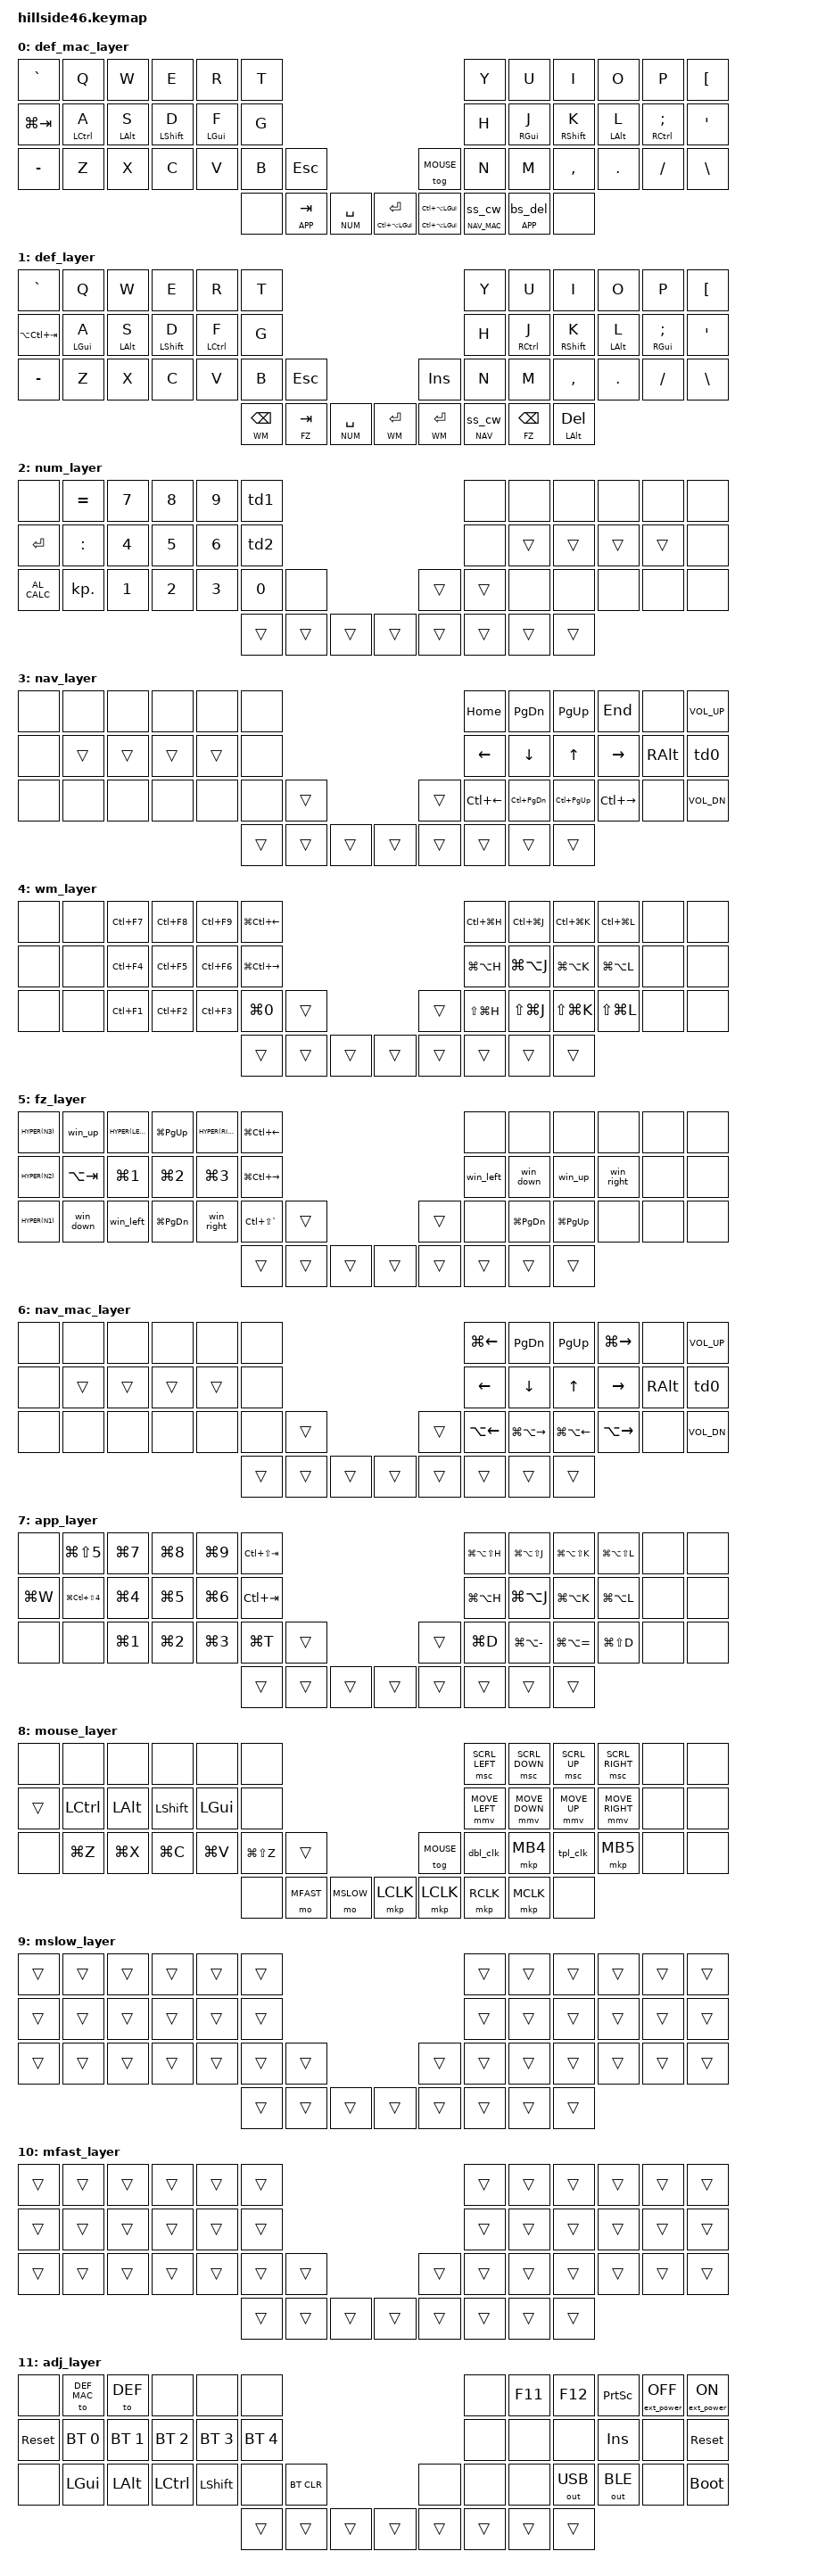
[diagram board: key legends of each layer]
/*
 * Copyright (c) 2021-2022 The ZMK Contributors
 *
 * SPDX-License-Identifier: MIT
 */

#include <behaviors.dtsi>
#include <dt-bindings/zmk/bt.h>
#include <dt-bindings/zmk/ext_power.h>
#include <dt-bindings/zmk/keys.h>
#include <dt-bindings/zmk/outputs.h>
// Mouse keys. ZMK_POINTING_DEFAULT_MOVE_VAL / _SCRL_VAL are left at ZMK's defaults (600 / 10):
// macOS runs its own pointer-acceleration curve on top of whatever the keyboard sends, so the
// sane order of tuning is the macOS "Tracking speed" slider first, these numbers only after.
// Requires CONFIG_ZMK_POINTING=y in hillside46.conf.
#include <dt-bindings/zmk/pointing.h>
// zip_xy_scaler / zip_scroll_scaler (MSLOW / MFAST) are not pulled in by behaviors.dtsi.
#include <input/processors.dtsi>

// layer shortcuts, must match order in which they are defined below
// bases (DEF_MAC, DEF) are lowest so momentary/overlay layers stack above them;
// ADJ is highest so it shows above NAV_MAC when reached via NUM+NAV_MAC.
// DEF_MAC is layer 0 so the keyboard boots into mac mode by default.
// NUM is shared by BOTH bases. It used to have a mac twin (NUM_MAC) whose only difference was
// the right-hand home-row mod order; since the symbol cleanup those slots are &trans and the
// OS-correct order arrives from the base layer, so the twin was deleted. NAV still needs a mac
// twin (NAV_MAC) because its right half genuinely differs - Home/End vs Cmd+arrow, Ctrl+arrow
// vs Option+arrow.
#define DEF_MAC 0
#define DEF 1
#define NUM 2
#define NAV 3
#define WM 4
#define FZ 5
#define NAV_MAC 6
#define APP 7
// MOUSE is toggled by pos 31 on DEF_MAC. MSLOW / MFAST are fully transparent layers held from
// MOUSE's left thumbs; they exist only so the mmv/msc input listeners below can scale the
// pointer and the wheel while they are active.
#define MOUSE 8
#define MSLOW 9
#define MFAST 10
#define ADJ 11

/* Windows legacy clipboard encodings, so the combos also work in terminals where
 * Ctrl+C/V are taken. Undo/Redo have no such second encoding and are one HRM chord
 * away anyway (HRM+Z), so they get no #define here. */
#define Cut    LS(DEL)
#define Copy   LC(INS)
#define Paste  LS(INS)

/* Hyper = Ctrl+Opt+Cmd (mac AeroSpace) / Ctrl+Alt+Win (FancyZones) - same three mods.
 * Use HYPER(key) instead of spelling LC(LA(LG(key))) by hand. */
#define HYPER(k) LC(LA(LG(k)))
/* Hyper as a bare modifier (no extra keycode) - for hold-tap "hold" params that
 * should just press/release the three mods, e.g. `&mt HYPER_HOLD RETURN`. */
#define HYPER_HOLD LC(LA(LGUI))

#define XXX &none
#define ___ &trans

/* Settings */
// quick-tap-ms: re-tap within this window after the SAME key resolves as a tap and
// enables hold-to-repeat. require-prior-idle-ms: if ANY other key was pressed less
// than this long ago, the hold is suppressed and the tap is emitted - this is what
// kills home-row-mod misfires mid-typing-burst. `global-quick-tap` used to tie the
// two together (prior-idle == quick-tap-ms); it is deprecated in ZMK v0.3.0
// (zmk,behavior-hold-tap.yaml), so they are set independently here.
// HRM_PRIOR_IDLE_MS is the stricter window for the home-row mods (hml/hmr). It must
// stay above ~175ms: the right half is the BLE peripheral, so its presses reach the
// central late, and a fast cross-hand roll like H->F (RU "ра" in "управлять") arrives
// as F-down, H-down, H-up - balanced resolves that as Cmd+H. The only thing standing
// between that and a hidden window is the prior-idle gap back to the key before H,
// which on a fast roll is ~150-175ms. PRIOR_IDLE_MS (thumbs: lt_t, app_bs_ht) stays
// lower so a layer can be entered right after typing.
#define QUICK_TAP_MS 175
#define PRIOR_IDLE_MS 150
#define HRM_PRIOR_IDLE_MS 200

#include "combos.dtsi"

&mt {
    flavor = "balanced";
};
&sk {
    quick-release;
};
&caps_word {
    // Allow caps word to continue even when minus, delete, left or underscore are pressed.
    continue-list = <UNDERSCORE MINUS BACKSPACE DELETE LEFT>;
};

/* Mouse keys - ZMK v0.3.0 defaults, spelled out so they are easy to find and tune.
 * mmv: the pointer ramps linearly (exponent 1) from 0 to full speed over 300ms - short taps
 *      nudge it a few pixels, a held key crosses the screen. macOS adds its own acceleration.
 * msc: the wheel runs at constant speed (exponent 0), no ramp-up.
 * delay-ms unset = movement starts on press, no dead time. */
&mmv {
    time-to-max-speed-ms = <300>;
    acceleration-exponent = <1>;
};
&msc {
    time-to-max-speed-ms = <300>;
    acceleration-exponent = <0>;
};

/* Speed modes: while MSLOW / MFAST is held (MOUSE's left thumbs) the generated deltas are
 * scaled. Scaler params are <multiplier divisor>. track-remainders is on in ZMK's stock
 * scalers, so slow mode loses no sub-pixel motion. */
&mmv_input_listener {
    mmv_slow {
        layers = <MSLOW>;
        input-processors = <&zip_xy_scaler 1 4>;
    };
    mmv_fast {
        layers = <MFAST>;
        input-processors = <&zip_xy_scaler 3 1>;
    };
};
&msc_input_listener {
    msc_slow {
        layers = <MSLOW>;
        input-processors = <&zip_scroll_scaler 1 3>;
    };
    msc_fast {
        layers = <MFAST>;
        input-processors = <&zip_scroll_scaler 3 1>;
    };
};

/ {
        conditional_layers {
            compatible = "zmk,conditional-layers";
            // Win/Lin: NUM + NAV reaches ADJ
            tri_layer_win {
                if-layers = <NUM NAV>;
                then-layer = <ADJ>;
            };
            // mac: NUM + NAV_MAC reaches ADJ (NUM is shared by both bases)
            tri_layer_mac {
                if-layers = <NUM NAV_MAC>;
                then-layer = <ADJ>;
            };
        };
        behaviors {
                td0: td_ply_nxt {
                        compatible = "zmk,behavior-tap-dance";
                        label = "TD_PLY_NXT";
                        #binding-cells = <0>;
                        tapping-term-ms = <280>;
                        bindings = <&kp C_PLAY_PAUSE>, <&kp C_NEXT>, <&kp C_PREV>;
                };
                td1: td_mns_sls {
                        compatible = "zmk,behavior-tap-dance";
                        label = "TD_MNS_SLS";
                        #binding-cells = <0>;
                        tapping-term-ms = <200>;
                        bindings = <&kp KP_MINUS>, <&kp KP_SLASH>;
                };
                td2: td_pls_ast {
                        compatible = "zmk,behavior-tap-dance";
                        label = "TD_PLS_AST";
                        #binding-cells = <0>;
                        tapping-term-ms = <200>;
                        bindings = <&kp KP_PLUS>, <&kp KP_ASTERISK>;
                };
                // tap: Backspace | shift + tap: Delete (shift is consumed, plain DELETE is sent)
                bs_del: backspace_delete {
                        compatible = "zmk,behavior-mod-morph";
                        label = "BACKSPACE_DELETE";
                        #binding-cells = <0>;
                        bindings = <&kp BACKSPACE>, <&kp DELETE>;
                        mods = <(MOD_LSFT|MOD_RSFT)>;
                };
                // Home-row mods, positional ("Miryoku/urob" style): split into a
                // left- and right-hand variant so each only triggers its hold when
                // the *next* key is on the OPPOSITE hand (hold-trigger-key-positions).
                // hold-trigger-on-release lets same-hand mods chain when the next key
                // is held. Same-hand mod+key (e.g. left-hand Cmd+C) still works via
                // the timeout path: hold the mod alone past tapping-term, then press.
                // Positions (Hillside46, 46 keys, numbered by keymap order from 0):
                //   left  hand: 0-5, 12-17, 24-30   right hand: 6-11, 18-23, 31-37   thumbs: 38-45
                //   thumbs, outer -> inner:  left 38 39 40 41 | right 42 43 44 45 (45 is outermost)
                // HARDWARE: positions 38 and 45 - the OUTERMOST thumb of each half - are
                // physically unused. Their keycaps have been removed from the board, so they
                // cannot be pressed at all. Never assign anything there; treat them as if the
                // switch did not exist. See "Physically unused keys" in CLAUDE.md.
                hml: homerow_mod_left {
                        compatible = "zmk,behavior-hold-tap";
                        label = "HRM_LEFT";
                        #binding-cells = <2>;
                        flavor = "balanced";
                        tapping-term-ms = <200>;
                        quick-tap-ms = <QUICK_TAP_MS>;
                        require-prior-idle-ms = <HRM_PRIOR_IDLE_MS>;
                        hold-trigger-key-positions = <6 7 8 9 10 11 18 19 20 21 22 23 31 32 33 34 35 36 37 38 39 40 41 42 43 44 45>;
                        hold-trigger-on-release;
                        bindings = <&kp>, <&kp>;
                };
                hmr: homerow_mod_right {
                        compatible = "zmk,behavior-hold-tap";
                        label = "HRM_RIGHT";
                        #binding-cells = <2>;
                        flavor = "balanced";
                        tapping-term-ms = <200>;
                        quick-tap-ms = <QUICK_TAP_MS>;
                        require-prior-idle-ms = <HRM_PRIOR_IDLE_MS>;
                        hold-trigger-key-positions = <0 1 2 3 4 5 12 13 14 15 16 17 24 25 26 27 28 29 30 38 39 40 41 42 43 44 45>;
                        hold-trigger-on-release;
                        bindings = <&kp>, <&kp>;
                };
                // tap: sticky-shift | shift + tap / double-tap: caps-word | hold: shift
                ss_cw: capsword {
                        compatible = "zmk,behavior-mod-morph";
                        label = "CAPSWORD";
                        #binding-cells = <0>;
                        bindings = <&sk LSHFT>, <&caps_word>;
                        mods = <(MOD_LSFT)>;
                };
                cw_ht: behavior_mo_cw {
                    compatible = "zmk,behavior-hold-tap";
                        label = "cw_ht";
                        #binding-cells = <2>;
                        flavor = "hold-preferred";
                        tapping-term-ms = <200>;
                        bindings = <&mo>, <&ss_cw>;
                };
                // hold: momentary layer | tap: bs_del (Backspace, Shift+tap = Delete)
                // quick-tap-ms is what makes Backspace repeatable: on the mac base this key
                // is the ONLY Backspace (pos 44; the outer thumbs are physically gone), so
                // without it there is no way to hold Backspace down at all. Tap it, then
                // re-press within QUICK_TAP_MS and keep holding -> the tap branch is forced
                // and the host's key repeat takes over. Verified in ZMK v0.3.0
                // behavior_hold_tap.c: decide_hold_preferred() maps HT_QUICK_TAP to
                // STATUS_TAP, so this works despite the hold-preferred flavor.
                // require-prior-idle-ms guards the other direction. With hold-preferred and
                // no prior-idle, pressing Backspace mid-typing and then rolling onto the next
                // key without releasing the thumb resolved as HOLD and opened APP instead of
                // deleting. Prior-idle forbids the hold while the previous keypress is recent,
                // so a Backspace taken during a typing burst is always a Backspace. Cost: the
                // APP layer now needs a ~PRIOR_IDLE_MS pause after typing before the thumb
                // will hold, which is fine for a deliberate window/tab layer.
                app_bs_ht: app_backspace_delete_ht {
                        compatible = "zmk,behavior-hold-tap";
                        label = "APP_BS_HT";
                        #binding-cells = <2>;
                        flavor = "hold-preferred";
                        tapping-term-ms = <200>;
                        quick-tap-ms = <QUICK_TAP_MS>;
                        require-prior-idle-ms = <PRIOR_IDLE_MS>;
                        bindings = <&mo>, <&bs_del>;
                };
                // Thumb layer-tap, replaces ZMK's stock &lt. The stock &lt is
                // flavor "tap-preferred" with quick-tap-ms unset (default -1), which
                // means two things:
                //   a) rolling into a layer key faster than tapping-term emits the TAP
                //      plus the BASE-layer key instead of the layer binding, so fast
                //      entry into NUM/NAV/WM/FZ needs a deliberate ~200ms pause;
                //   b) the tap keycode never auto-repeats when held, so Space,
                //      Backspace and Tab cannot be held down.
                // "balanced" resolves the hold as soon as another key is pressed AND
                // released inside the term, which fixes (a). quick-tap-ms fixes (b).
                // require-prior-idle-ms is the safety net that "tap-preferred" used to
                // provide: rolling off SPACE onto the next letter mid-word no longer
                // turns into an accidental layer, because the previous keypress is too
                // recent for the hold to be allowed.
                // Tuning knob: accidental layers still slipping through -> raise
                // require-prior-idle-ms; entering a layer right after typing feels
                // blocked -> lower it.
                lt_t: layer_tap_thumb {
                        compatible = "zmk,behavior-hold-tap";
                        label = "LT_THUMB";
                        #binding-cells = <2>;
                        flavor = "balanced";
                        tapping-term-ms = <200>;
                        quick-tap-ms = <QUICK_TAP_MS>;
                        require-prior-idle-ms = <PRIOR_IDLE_MS>;
                        bindings = <&mo>, <&kp>;
                };
                // Dedicated sticky-key for Hyper one-shot (separate from the
                // generic &sk used by ss_cw, so this 5s timeout doesn't affect
                // caps-word's sticky-shift behavior).
                sk_hyper: sticky_key_hyper {
                        compatible = "zmk,behavior-sticky-key";
                        label = "SK_HYPER";
                        #binding-cells = <1>;
                        bindings = <&kp>;
                        release-after-ms = <5000>;
                        // ignore-modifiers is REQUIRED here, and its absence was the cause of
                        // the long-standing "one-shot Hyper does nothing" bug. ZMK's stock &sk
                        // (app/dts/behaviors/sticky_key.dtsi) sets it; a hand-rolled node does
                        // not, because devicetree booleans default to false.
                        // Why it breaks without it (ZMK v0.3.0, behavior_sticky_key.c, the
                        // "don't catch key down events generated by the sticky key behavior
                        // itself" filter): that filter compares SELECT_MODS(param1) against
                        // ev->implicit_modifiers. For LC(LA(LGUI)) the keycode itself (LGUI) is
                        // a modifier, so keycode_state_changed_from_encoded() puts LCTRL|LALT
                        // into *explicit*_modifiers and leaves implicit_modifiers = 0. The
                        // comparison LCTRL|LALT == 0 fails, the filter misses, and the sticky
                        // key records its OWN press as "another key was pressed". On thumb
                        // release it then takes the "act like a normal key" path and releases
                        // the mods immediately - so the one-shot never sticks.
                        ignore-modifiers;
                        // lazy: press the three mods only around the next keypress instead of
                        // holding them for the whole 5s window, so the host never sees a bare
                        // Ctrl+Opt+Cmd hanging. Also independently sidesteps the bug above
                        // (no self key-down is emitted at activation time).
                        lazy;
                        // quick-release deliberately omitted: it has known bad interactions
                        // with sticky keys activated through a hold-tap (ZMK issues #3279,
                        // #814) - sk_hyper is the tap sub-behavior of hyper_ht. Without it,
                        // the modifier releases on the next key's release instead of its
                        // press, which is fine for a single-hotkey one-shot use case.
                };
                // Hold = hold the modifier (plain &kp); tap = one-shot the
                // modifier (sk_hyper). Both params of a call site should be
                // the same modifier expression, e.g. `&hyper_ht HYPER_HOLD HYPER_HOLD`.
                hyper_ht: hyper_hold_tap {
                        compatible = "zmk,behavior-hold-tap";
                        label = "HYPER_HT";
                        #binding-cells = <2>;
                        flavor = "balanced";
                        tapping-term-ms = <200>;
                        bindings = <&kp>, <&sk_hyper>;
                };
        };
        macros {
                win_left: win_left_macro {
                        compatible = "zmk,behavior-macro";
                        #binding-cells = <0>;
                        bindings = <&macro_press &kp LGUI>, <&macro_tap &kp LEFT>, <&macro_release &kp LGUI>;
                };
                win_right: win_right_macro {
                        compatible = "zmk,behavior-macro";
                        #binding-cells = <0>;
                        bindings = <&macro_press &kp LGUI>, <&macro_tap &kp RIGHT>, <&macro_release &kp LGUI>;
                };
                win_up: win_up_macro {
                        compatible = "zmk,behavior-macro";
                        #binding-cells = <0>;
                        bindings = <&macro_press &kp LGUI>, <&macro_tap &kp UP>, <&macro_release &kp LGUI>;
                };
                win_down: win_down_macro {
                        compatible = "zmk,behavior-macro";
                        #binding-cells = <0>;
                        bindings = <&macro_press &kp LGUI>, <&macro_tap &kp DOWN>, <&macro_release &kp LGUI>;
                };
                // Double / triple left click (MOUSE layer). 20ms per step is far inside the
                // macOS double-click interval, so the host always sees one multi-click.
                dbl_clk: double_click_macro {
                        compatible = "zmk,behavior-macro";
                        #binding-cells = <0>;
                        wait-ms = <20>;
                        tap-ms = <20>;
                        bindings = <&macro_tap &mkp LCLK &mkp LCLK>;
                };
                tpl_clk: triple_click_macro {
                        compatible = "zmk,behavior-macro";
                        #binding-cells = <0>;
                        wait-ms = <20>;
                        tap-ms = <20>;
                        bindings = <&macro_tap &mkp LCLK &mkp LCLK &mkp LCLK>;
                };
        };


        keymap {
                compatible = "zmk,keymap";

                def_mac_layer {
/* QWERTY macOS (boot default, layer 0) | G-Tab=Cmd+Tab (switch to last app; tap toggles 2 most recent)
 * thumbs left: (unused, leftmost) · APP/TAB (app tabs+splits) · NUM · Hyper hold/Enter tap
 * thumbs right: Hyper hold/one-shot tap (5s sticky) · NAV_MAC · APP/BSPC (app, mirror; Shift+tap = Delete) · (unused, rightmost)
 * Inner thumbs hold = raw Hyper (Ctrl+Opt+Cmd) modifier, no layer switch - press any Hyper
 * hotkey (AeroSpace/OmniWM) while held. Right thumb tap = one-shot Hyper (sticky, 5s idle timeout).
 * The one-shot was broken until sk_hyper gained `ignore-modifiers` - see sk_hyper's comment
 * below for the ZMK-internals reason.
 * The outermost thumbs (pos 38 and 45) are &none because they are PHYSICALLY UNUSED -
 * their keycaps have been removed from the board and cannot be pressed. Do not put
 * anything there.
 * HRM mac (Cmd<->Ctrl swapped vs Win): A=Ctrl S=Opt D=Shift F=Cmd  /  J=Cmd K=Shift L=Opt ;=Ctrl  (Cmd on index, Ctrl on pinky)
 * `[` (pos 11) is a plain &kp. It used to be `&mt RBKT LBKT`, which put `]` on a pinky
 * HOLD and also risked emitting `]` instead of `[` mid-burst - the generic &mt has no
 * require-prior-idle-ms, unlike hml/hmr/lt_t. `]` now lives on the P+[ combo
 * (positions 10 11, see combos.dtsi). RU YCUKEN legend: [ = X, ] = hard sign.
 * MOUSE (pos 31, the right key that sits above the thumb row) toggles the MOUSE layer on/off.
 * It used to be `&mt RALT INSERT`; Right Alt is still on NAV_MAC (pos 22).
 * -------------------------------------------------------------------------------------------------------------------------------------
 * |  `    |   Q   |   W   |   E   |   R   |   T   |-----------------------------------|   Y   |   U   |   I   |   O   |   P   |   [   |
 * | G-Tab |   A   |   S   |   D   |   F   |   G   |-----------------------------------|   H   |   J   |   K   |   L   |   ;   |   '   |
 * |   -   |   Z   |   X   |   C   |   V   |   B   |  ESC  |-------------------| MOUSE |   N   |   M   |   ,   |   .   |   /   |   \   |
 *                                 |       |APP/TAB|NUM/SPC|HYP/ENT|HYP/OSH|NAV/CW |APP/BSP|       |
 */
                        bindings = <
&kp GRAVE      &kp Q &kp W &kp E &kp R &kp T &kp Y                                                    &kp U   &kp I  &kp O   &kp P    &kp LBKT
&kp LG(TAB)    &hml LCTRL A &hml LALT S &hml LSHIFT D &hml LGUI F  &kp G                              &kp H  &hmr RGUI J &hmr RSHIFT K &hmr LALT L &hmr RCTRL SEMI &kp SQT
&kp MINUS      &kp Z &kp X &kp C &kp V &kp B   &kp ESC                               &tog MOUSE       &kp N  &kp M  &kp COMMA    &kp DOT &kp FSLH &kp BSLH
                                XXX &lt_t APP TAB &lt_t NUM SPACE &mt HYPER_HOLD RETURN     &hyper_ht HYPER_HOLD HYPER_HOLD &cw_ht NAV_MAC 0 &app_bs_ht APP 0 XXX
                        >;
                };

                def_layer {
/* QWERTY Win/Lin (layer 1, must be reached via ADJ) - HRM on ASDF/JKL; | AC-Tab=Alt+Ctrl+Tab | thumb: hold=layer, tap=key
 * STALE: the two outer thumb slots below (pos 38 = WM/BSPC, pos 45 = A/DEL) are
 * UNREACHABLE - those keycaps have been removed from the board (see the HARDWARE note
 * on hml above). They predate that change and were never cleaned up, so on the Win base
 * WM is reachable only through the two inner RETURN thumbs, and Delete has no key at
 * all. Left as-is pending a decision on where Delete should move.
 * -------------------------------------------------------------------------------------------------------------------------------------
 * |  `    |   Q   |   W   |   E   |   R   |   T   |-----------------------------------|   Y   |   U   |   I   |   O   |   P   |   [   |
 * |AC-Tab |   A   |   S   |   D   |   F   |   G   |-----------------------------------|   H   |   J   |   K   |   L   |   ;   |   '   |
 * |   -   |   Z   |   X   |   C   |   V   |   B   |  ESC  |-------------------|  INS  |   N   |   M   |   ,   |   .   |   /   |   \   |
 *                                 |WM/BSPC|FZ/TAB |NUM/SPC|WM/ENT |WM/ENT |NAV/CW |FZ/BSPC| A/DEL |
 */
                        bindings = <
&kp GRAVE      &kp Q &kp W &kp E &kp R &kp T &kp Y                                                    &kp U   &kp I  &kp O   &kp P    &kp LBKT
&kp LA(LC(TAB)) &hml LGUI A &hml LALT S &hml LSHIFT D &hml LCTRL F  &kp G                             &kp H  &hmr RCTRL J &hmr RSHIFT K &hmr LALT L &hmr RGUI SEMI &kp SQT
&kp MINUS      &kp Z &kp X &kp C &kp V &kp B   &kp ESC                                   &kp INSERT  &kp N  &kp M  &kp COMMA    &kp DOT &kp FSLH &kp BSLH
                                &lt_t WM BSPC &lt_t FZ TAB &lt_t NUM SPACE &lt_t WM RETURN     &lt_t WM RETURN &cw_ht NAV 0 &lt_t FZ BSPC &mt LALT DEL
                        >;
                };

                num_layer {
/* NUM (shared by DEF and DEF_MAC) - numpad only, entirely on the left half: 789/456/123
 * Symbols and F-keys are NOT here any more: every special symbol and every F-key has exactly one
 * definition site, and that site is combos.dtsi. What used to sit on this layer (^&*() and F6-F12)
 * was a verbatim copy of those combos.
 * Consequence worth knowing: ZMK matches a combo against the HIGHEST active layer
 * (zmk_keymap_highest_layer_active(), keymap.c), so while this layer is held the symbol combos are
 * gated off - a `(` in the middle of a number needs the thumb released first. Accepted trade-off.
 * `=` `:` `- /` `+ *` `KP.` stay: that is numpad math, not "special symbols". `-` on pos 23 was
 * dropped (a plain duplicate of the base `-` on pos 24 and of td1's KP_MINUS).
 * Right home row (pos 19-22) is &trans ON PURPOSE - the base layer's home-row mods come through it
 * in the order matching the active OS, which is what still makes Cmd/Ctrl/Alt/Shift + digit work
 * from here. Pos 18 and 23 are &none: no mod lives there.
 * SHARED BY BOTH BASES: reached from DEF via the Win thumb and from DEF_MAC via the mac thumb.
 * There used to be a num_mac_layer twin whose only difference was the right-hand HRM order; with
 * those slots &trans the order comes from whichever base is active, so the twin was deleted.
 * -------------------------------------------------------------------------------------------------------------------------------------
 * |       |   =   |   7   |   8   |   9   |  - /  |-----------------------------------|       |       |       |       |       |       |
 * | ENTER |   :   |   4   |   5   |   6   |  + *  |-----------------------------------|       | trans | trans | trans | trans |       |
 * | CALC  |  KP.  |   1   |   2   |   3   |   0   |       |-------------------|       |       |       |       |       |       |       |
 *                                 |       |       |       |       |---|       |       |       |       |
 */
                        bindings = <
XXX             &kp EQUAL  &kp N7 &kp N8 &kp N9 &td1 XXX                     XXX      XXX      XXX      XXX      XXX
&kp ENTER        &kp COLON  &kp N4 &kp N5 &kp N6 &td2                        XXX         ___             ___              ___            ___            XXX
&kp C_AL_CALC   &kp KP_DOT &kp N1 &kp N2 &kp N3 &kp N0 XXX              ___ ___    XXX         XXX         XXX         XXX         XXX
                                                ___ ___ ___ ___     ___ ___ ___ ___
                        >;
                };

                nav_layer {
/* NAV (Win/Lin) - navigation, entirely on the right half | C = Ctrl+nav (word / page jumps), volume
 * The left half is empty by design: !@#$% and F1-F5 used to be a verbatim copy of the combos in
 * combos.dtsi, and KP1-KP5 duplicated the digits on NUM. All three groups were removed, along with
 * the orphan `KP=` on pos 12.
 * Left home row (pos 13-16) is &trans ON PURPOSE - the base layer's home-row mods come through it
 * in the OS-correct order, and that is what still gives Shift/Ctrl/Alt/Gui + arrow (text selection)
 * from this layer. Pos 12 and 17 are &none: no mod lives there.
 * See num_layer's comment for the combo-gating trade-off that comes with holding a layer.
 * -------------------------------------------------------------------------------------------------------------------------------------
 * |       |       |       |       |       |       |-----------------------------------| HOME  | PG_DN | PG_UP |  END  |       | VOL+  |
 * |       | trans | trans | trans | trans |       |-----------------------------------| LEFT  | DOWN  |  UP   | RIGHT | RALT  |PL/NXT |
 * |       |       |       |       |       |       |       |-------------------|       |  C-<- | C-PgD | C-PgU |  C->  |       | VOL-  |
 *                                 |       |       |       |       |---|       |       |       |       |
 */
                        bindings = <
XXX            XXX         XXX    XXX      XXX         XXX                                      &kp HOME      &kp PG_DN        &kp PG_UP       &kp END       XXX             &kp C_VOL_UP
XXX            ___             ___          ___              ___              XXX                &kp LEFT      &kp DOWN     &kp UP          &kp RIGHT       &kp RALT        &td0
XXX         XXX         XXX       XXX       XXX       XXX        ___                        ___  &kp LC(LEFT)  &kp LC(PG_DN)    &kp LC(PG_UP)   &kp LC(RIGHT)   XXX             &kp C_VOL_DN
                                                        ___ ___ ___ ___                 ___ ___ ___ ___
                        >;
                };

                wm_layer {
/* WM (Win/Lin window management) - G=Win+1..9 numpad left | GC=Win+Ctrl | GA=Win+Alt | GS=Win+Shift on HJKL right
 * -------------------------------------------------------------------------------------------------------------------------------------
 * |       |       |  C-7  |  C-8  |  C-9  | GC-<- |-----------------------------------| GC-H  | GC-J  | GC-K  | GC-L  |       |       |
 * |       |       |  C-4  |  C-5  |  C-6  | GC->  |-----------------------------------| GA-H  | GA-J  | GA-K  | GA-L  |       |       |
 * |       |       |  C-1  |  C-2  |  C-3  |  G-0  |       |-------------------|       | GS-H  | GS-J  | GS-K  | GS-L  |       |       |
 *                                 |       |       |       |       |---|       |       |       |       |
 */
                        bindings = <
XXX     XXX &kp LC(F7) &kp LC(F8) &kp LC(F9) &kp LG(LC(LEFT))                            &kp LC(LG(H)) &kp LC(LG(J)) &kp LC(LG(K)) &kp LC(LG(L)) XXX XXX
XXX     XXX &kp LC(F4) &kp LC(F5) &kp LC(F6) &kp LG(LC(RIGHT))                           &kp LG(LA(H)) &kp LG(LA(J)) &kp LG(LA(K)) &kp LG(LA(L)) XXX XXX
XXX     XXX &kp LC(F1) &kp LC(F2) &kp LC(F3) &kp LG(N0) ___                          ___ &kp LS(LG(H)) &kp LS(LG(J)) &kp LS(LG(K)) &kp LS(LG(L)) XXX XXX
                                                ___ ___ ___ ___              ___ ___ ___ ___
                        >;
                };

                fz_layer {
/* FZ (FancyZones) - G=Win snap, GAC=Win+Alt+Ctrl FancyZones layouts, GC=Win+Ctrl desktops, SC=Shift+Ctrl
 * -------------------------------------------------------------------------------------------------------------------------------------
 * | GAC-3 | G-UP  |GAC-<- | G-PgU | GAC-> | GC-<- |-----------------------------------|       |       |       |       |       |       |
 * | GAC-2 | A-Tab |  G-1  |  G-2  |  G-3  | GC->  |-----------------------------------| G-<-  | G-DN  | G-UP  |  G->  |       |       |
 * | GAC-1 | G-DN  | G-<-  | G-PgD |  G->  | SC-`  |       |-------------------|       |       | G-PgD | G-PgU |       |       |       |
 *                                 |       |       |       |       |---|       |       |       |       |
 */
                        bindings = <
&kp HYPER(N3)           &win_up       &kp HYPER(LEFT)          &kp LG(PG_UP)   &kp HYPER(RIGHT)        &kp LG(LC(LEFT))                                        XXX XXX XXX XXX XXX XXX
&kp HYPER(N2)           &kp LA(TAB)   &kp LG(N1)               &kp LG(N2)      &kp LG(N3)              &kp LG(LC(RIGHT))                                       &win_left &win_down  &win_up &win_right XXX XXX
&kp HYPER(N1)           &win_down     &win_left                &kp LG(PG_DN)   &win_right        &kp LC(LS(GRAVE)) ___                           ___    XXX &kp LG(PG_DN) &kp LG(PG_UP) XXX XXX XXX
                                                                                                                        ___ ___ ___ ___                   ___ ___ ___ ___
                        >;
                };

                nav_mac_layer {
/* NAV macOS - navigation, entirely on the right half. Mirrors nav_layer; the right half differs:
 * bottom-right A-<-/A-> = word nav (Option), GA-<-/GA-> = Cmd+Opt+arrow tab switch (universal:
 * Firefox/Chrome/VSCode native, Ghostty via config)
 * top-right: G-<-/G-> = Cmd+arrow line start/end (HOME/END are unreliable on mac: scroll-to-document
 * in Cocoa apps, line nav elsewhere)
 * The left half was cleared the same way as on nav_layer (symbols -> combos only, KP1-KP5 and KP=
 * dropped); pos 13-16 are &trans so the mac home-row mod order arrives from the base layer.
 * -------------------------------------------------------------------------------------------------------------------------------------
 * |       |       |       |       |       |       |-----------------------------------| G-<-  | PG_DN | PG_UP | G->   |       | VOL+  |
 * |       | trans | trans | trans | trans |       |-----------------------------------| LEFT  | DOWN  |  UP   | RIGHT | RALT  |PL/NXT |
 * |       |       |       |       |       |       |       |-------------------|       |  A-<- | GA->  | GA-<- |  A->  |       | VOL-  |
 *                                 |       |       |       |       |---|       |       |       |       |
 */
                        bindings = <
XXX            XXX         XXX    XXX      XXX         XXX                                      &kp LG(LEFT)  &kp PG_DN        &kp PG_UP       &kp LG(RIGHT) XXX             &kp C_VOL_UP
XXX            ___             ___          ___              ___              XXX                &kp LEFT      &kp DOWN     &kp UP          &kp RIGHT       &kp RALT        &td0
XXX         XXX         XXX       XXX       XXX       XXX        ___                        ___  &kp LA(LEFT)  &kp LG(LA(RIGHT)) &kp LG(LA(LEFT)) &kp LA(RIGHT) XXX             &kp C_VOL_DN
                                                        ___ ___ ___ ___                 ___ ___ ___ ___
                        >;
                };

                app_layer {
/* APP (app-level tabs + splits) - hold APP/TAB (2nd-from-edge left thumb) on DEF_MAC.
 * No app config edits except Obsidian (4 focus binds). Chords chosen to hit all 5 target apps:
 *   tabs: Cmd+1..9 go-to (FF/Linear/Obsidian/kitty), SC-Tab/C-Tab prev/next (all 5), Cmd+T/Cmd+W new/close.
 *   splits (kitty always; Obsidian focus after binds): GA-hjkl focus, GAS-hjkl move,
 *     GA--/GA-= resize, G-D/GS-D v/h-split — all match the user's kitty.conf (Cmd+Opt = GA).
 * pinky col (Q/A/Z): GS-5 = Cmd+Shift+5 screenshot UI | GSC-4 = Cmd+Ctrl+Shift+4 region->clipboard (no file).
 * left: tabs 1-9 numpad aligned with NUM digits | G-W close (G-Tab slot) | T/G = prev/next | B = new tab
 * right: focus home row GA-hjkl | move Y/U/I/O = GAS-hjkl | resize M/, = GA--/GA-= | N/. = G-D/GS-D
 * NOTE: GA-H (Cmd+Opt+H) is macOS "Hide Others" globally — only press APP hjkl while kitty/Obsidian is focused.
 * -------------------------------------------------------------------------------------------------------------------------------------
 * |       | GS-5  | G-7   | G-8   | G-9   | SC-Tab |----------------------------------| GAS-H | GAS-J | GAS-K | GAS-L |       |       |
 * | G-W   | GSC-4 | G-4   | G-5   | G-6   | C-Tab  |----------------------------------|  GA-H |  GA-J |  GA-K |  GA-L |       |       |
 * |       |       | G-1   | G-2   | G-3   | G-T    |       |-------------------|       |  G-D  |  GA-- |  GA-= |  GS-D |       |       |
 *                                 |       |       |       |       |---|       |       |       |       |
 */
                        bindings = <
XXX          &kp LG(LS(N5))       &kp LG(N7)  &kp LG(N8)  &kp LG(N9)  &kp LC(LS(TAB))                                  &kp LG(LA(LS(H)))  &kp LG(LA(LS(J)))  &kp LG(LA(LS(K)))  &kp LG(LA(LS(L)))  XXX  XXX
&kp LG(W)    &kp LG(LC(LS(N4)))   &kp LG(N4)  &kp LG(N5)  &kp LG(N6)  &kp LC(TAB)                                      &kp LG(LA(H))      &kp LG(LA(J))      &kp LG(LA(K))      &kp LG(LA(L))      XXX  XXX
XXX          XXX                  &kp LG(N1)  &kp LG(N2)  &kp LG(N3)  &kp LG(T)  ___                            ___    &kp LG(D)          &kp LG(LA(MINUS))  &kp LG(LA(EQUAL))  &kp LG(LS(D))      XXX  XXX
                                                                                       ___ ___ ___ ___                          ___ ___ ___ ___
                        >;
                };

                mouse_layer {
/* MOUSE (mac) - toggled on/off by pos 31 (DEF_MAC). Modal: while it is on, nothing types letters.
 * right hand, vim-style like the arrows on NAV_MAC:
 *   H J K L = move pointer  <- v ^ ->         (NAV_MAC: arrows on the same keys)
 *   Y U I O = scroll wheel  <- v ^ ->         (NAV_MAC: PgDn/PgUp on U/I)
 *   N = double click | M = MB4 (back) | , = triple click | . = MB5 (forward)
 *   thumbs: LCLK · RCLK · MCLK
 * left hand:
 *   home row = plain Ctrl Opt Shift Cmd, same fingers as the mac HRM (plain &kp, not hold-taps:
 *   no timing, so Cmd+click / Shift+click / Opt+drag always work)
 *   Z X C V B = Cmd+Z/X/C/V, Cmd+Shift+Z (undo/cut/copy/paste/redo) | G-Tab and ESC fall through
 *   thumbs: FAST (hold: pointer x3, wheel x3) · SLOW (hold: pointer /4, wheel /3) · LCLK
 *   LCLK on the left inner thumb is for dragging: hold it, steer with HJKL.
 * Combos do not fire here (gated by highest active layer), so rolls like H+J cannot misfire.
 * Scroll direction follows the macOS "Natural scrolling" setting (shared by mouse and trackpad).
 * -------------------------------------------------------------------------------------------------------------------------------------
 * |       |       |       |       |       |       |-----------------------------------| SC <- | SC v  | SC ^  | SC -> |       |       |
 * | trans | LCTRL | LALT  |LSHIFT | LGUI  |       |-----------------------------------| MV <- | MV v  | MV ^  | MV -> |       |       |
 * |       |  G-Z  |  G-X  |  G-C  |  G-V  | GS-Z  | trans |-------------------| MOUSE | DBLCLK|  MB4  | TPLCLK|  MB5  |       |       |
 *                                 |       | FAST  | SLOW  | LCLK  |---| LCLK  | RCLK  | MCLK  |       |
 */
                        bindings = <
XXX            XXX         XXX    XXX      XXX         XXX                                      &msc SCRL_LEFT &msc SCRL_DOWN &msc SCRL_UP  &msc SCRL_RIGHT XXX XXX
___            &kp LCTRL   &kp LALT &kp LSHIFT &kp LGUI XXX                                     &mmv MOVE_LEFT &mmv MOVE_DOWN &mmv MOVE_UP  &mmv MOVE_RIGHT XXX XXX
XXX            &kp LG(Z)   &kp LG(X) &kp LG(C) &kp LG(V) &kp LG(LS(Z)) ___          &tog MOUSE  &dbl_clk       &mkp MB4       &tpl_clk      &mkp MB5        XXX XXX
                                XXX &mo MFAST &mo MSLOW &mkp LCLK                 &mkp LCLK &mkp RCLK &mkp MCLK XXX
                        >;
                };

                mslow_layer {
/* MSLOW - fully transparent. Held from MOUSE (left middle thumb); it only exists so that
 * &mmv_input_listener / &msc_input_listener apply their slow scalers while it is active.
 * -------------------------------------------------------------------------------------------------------------------------------------
 * | trans | trans | trans | trans | trans | trans |-----------------------------------| trans | trans | trans | trans | trans | trans |
 * | trans | trans | trans | trans | trans | trans |-----------------------------------| trans | trans | trans | trans | trans | trans |
 * | trans | trans | trans | trans | trans | trans | trans |-------------------| trans | trans | trans | trans | trans | trans | trans |
 *                                 | trans | trans | trans | trans |---| trans | trans | trans | trans |
 */
                        bindings = <
___ ___ ___ ___ ___ ___                 ___ ___ ___ ___ ___ ___
___ ___ ___ ___ ___ ___                 ___ ___ ___ ___ ___ ___
___ ___ ___ ___ ___ ___ ___         ___ ___ ___ ___ ___ ___ ___
                ___ ___ ___ ___     ___ ___ ___ ___
                        >;
                };

                mfast_layer {
/* MFAST - fully transparent. Held from MOUSE (left outer reachable thumb); it only exists so
 * that the input listeners apply their fast scalers while it is active.
 * -------------------------------------------------------------------------------------------------------------------------------------
 * | trans | trans | trans | trans | trans | trans |-----------------------------------| trans | trans | trans | trans | trans | trans |
 * | trans | trans | trans | trans | trans | trans |-----------------------------------| trans | trans | trans | trans | trans | trans |
 * | trans | trans | trans | trans | trans | trans | trans |-------------------| trans | trans | trans | trans | trans | trans | trans |
 *                                 | trans | trans | trans | trans |---| trans | trans | trans | trans |
 */
                        bindings = <
___ ___ ___ ___ ___ ___                 ___ ___ ___ ___ ___ ___
___ ___ ___ ___ ___ ___                 ___ ___ ___ ___ ___ ___
___ ___ ___ ___ ___ ___ ___         ___ ___ ___ ___ ___ ___ ___
                ___ ___ ___ ___     ___ ___ ___ ___
                        >;
                };

                adj_layer {
/* ADJUST - active when NUM+NAV (Win) or NUM+NAV_MAC (mac) held simultaneously | MAC/WIN switch OS base layer
 * Column 2 (MAC / BT 0) is the boot default — mac base lives on the first BT slot.
 * -------------------------------------------------------------------------------------------------------------------------------------
 * |       |  MAC  |  WIN  |       |       |       |-----------------------------------|       |  F11  |  F12  |PrtScr |EP_OFF | EP_ON |
 * | RESET | BT 0  | BT 1  | BT 2  | BT 3  | BT 4  |-----------------------------------|       |       |       |  INS  |       | RESET |
 * |       | LGUI  | LALT  | LCTRL | LSHIFT|       |BT CLR |-------------------|       |       |       |OUT_USB|OUT_BLE|       | BOOTL |
 *                                 |       |       |       |       |---|       |       |       |       |
 */
                        bindings = <
&none         &to DEF_MAC &to DEF &none &none         &none                                                                               &none       &kp   F11       &kp   F12        &kp PRINTSCREEN   &ext_power EP_OFF  &ext_power EP_ON
&sys_reset    &bt  BT_SEL 0 &bt  BT_SEL 1 &bt  BT_SEL 2 &bt  BT_SEL 3 &bt  BT_SEL 4                                                       &none       &none           &none            &kp INS           &none           &sys_reset
&none         &kp  LGUI     &kp  LALT     &kp  LCTRL    &kp LSHIFT    &none         &bt BT_CLR                             &none      &none       &none           &out  OUT_USB    &out  OUT_BLE  &none           &bootloader
                                                        &trans        &trans        &trans        &trans         &trans    &trans     &trans      &trans 
                        >;
                };
        };
};
